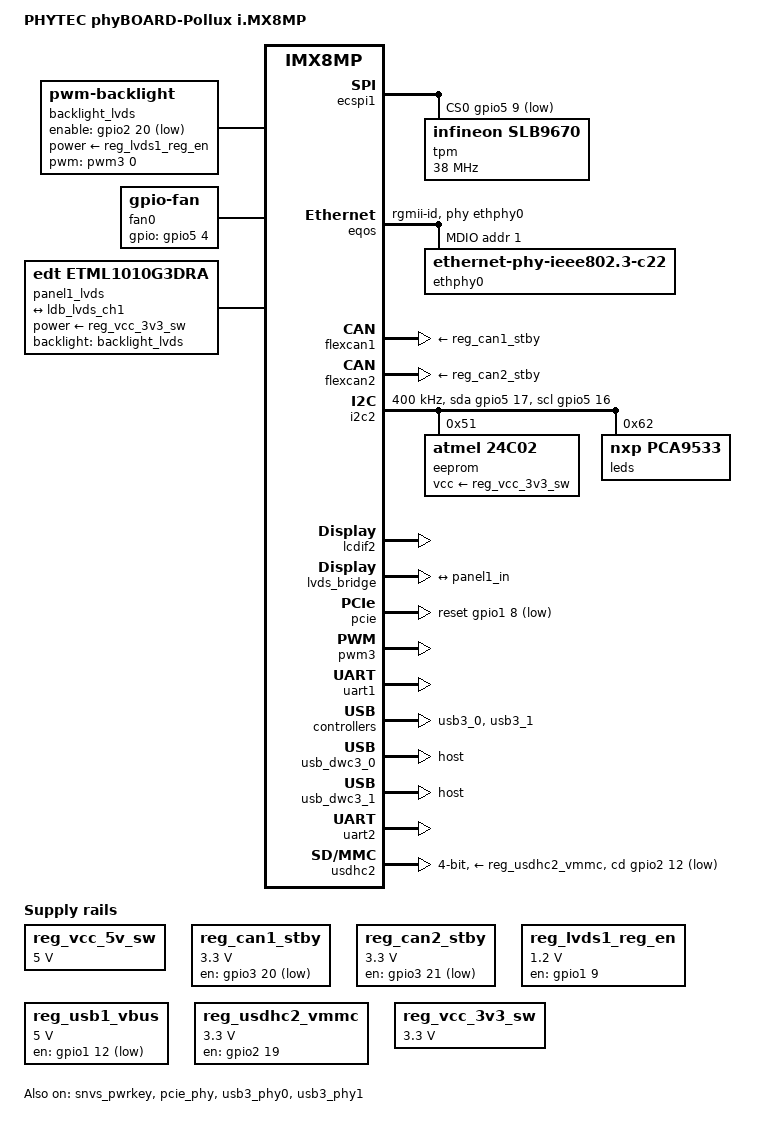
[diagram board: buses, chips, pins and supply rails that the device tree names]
// SPDX-License-Identifier: GPL-2.0
/*
 * Copyright (C) 2020 PHYTEC Messtechnik GmbH
 * Author: Teresa Remmet <t.remmet@phytec.de>
 */

/dts-v1/;

#include <dt-bindings/phy/phy-imx8-pcie.h>
#include <dt-bindings/leds/leds-pca9532.h>
#include <dt-bindings/pwm/pwm.h>
#include <dt-bindings/thermal/thermal.h>
#include "imx8mp-phycore-som.dtsi"

/ {
	model = "PHYTEC phyBOARD-Pollux i.MX8MP";
	compatible = "phytec,imx8mp-phyboard-pollux-rdk",
		     "phytec,imx8mp-phycore-som", "fsl,imx8mp";

	chosen {
		stdout-path = &uart1;
	};

	backlight_lvds: backlight {
		compatible = "pwm-backlight";
		pinctrl-names = "default";
		pinctrl-0 = <&pinctrl_lvds1>;
		brightness-levels = <0 4 8 16 32 64 128 255>;
		default-brightness-level = <11>;
		enable-gpios = <&gpio2 20 GPIO_ACTIVE_LOW>;
		num-interpolated-steps = <2>;
		power-supply = <&reg_lvds1_reg_en>;
		pwms = <&pwm3 0 50000 0>;
	};

	fan0: fan {
		compatible = "gpio-fan";
		pinctrl-names = "default";
		pinctrl-0 = <&pinctrl_fan>;
		gpio-fan,speed-map = <0     0
				      13000 1>;
		gpios = <&gpio5 4 GPIO_ACTIVE_HIGH>;
		#cooling-cells = <2>;
	};

	panel1_lvds: panel-lvds {
		compatible = "edt,etml1010g3dra";
		backlight = <&backlight_lvds>;
		power-supply = <&reg_vcc_3v3_sw>;

		port {
			panel1_in: endpoint {
				remote-endpoint = <&ldb_lvds_ch1>;
			};
		};
	};

	reg_vcc_5v_sw: regulator-vcc-5v-sw {
		compatible = "regulator-fixed";
		regulator-always-on;
		regulator-boot-on;
		regulator-max-microvolt = <5000000>;
		regulator-min-microvolt = <5000000>;
		regulator-name = "VCC_5V_SW";
	};

	reg_can1_stby: regulator-can1-stby {
		compatible = "regulator-fixed";
		pinctrl-names = "default";
		pinctrl-0 = <&pinctrl_flexcan1_reg>;
		gpio = <&gpio3 20 GPIO_ACTIVE_LOW>;
		regulator-max-microvolt = <3300000>;
		regulator-min-microvolt = <3300000>;
		regulator-name = "can1-stby";
	};

	reg_can2_stby: regulator-can2-stby {
		compatible = "regulator-fixed";
		pinctrl-names = "default";
		pinctrl-0 = <&pinctrl_flexcan2_reg>;
		gpio = <&gpio3 21 GPIO_ACTIVE_LOW>;
		regulator-max-microvolt = <3300000>;
		regulator-min-microvolt = <3300000>;
		regulator-name = "can2-stby";
	};

	reg_lvds1_reg_en: regulator-lvds1 {
		compatible = "regulator-fixed";
		enable-active-high;
		gpio = <&gpio1 9 GPIO_ACTIVE_HIGH>;
		regulator-max-microvolt = <1200000>;
		regulator-min-microvolt = <1200000>;
		regulator-name = "lvds1_reg_en";
	};

	reg_usb1_vbus: regulator-usb1-vbus {
		compatible = "regulator-fixed";
		pinctrl-names = "default";
		pinctrl-0 = <&pinctrl_usb1_vbus>;
		gpio = <&gpio1 12 GPIO_ACTIVE_LOW>;
		regulator-max-microvolt = <5000000>;
		regulator-min-microvolt = <5000000>;
		regulator-name = "usb1_host_vbus";
	};

	reg_usdhc2_vmmc: regulator-usdhc2 {
		compatible = "regulator-fixed";
		pinctrl-names = "default";
		pinctrl-0 = <&pinctrl_reg_usdhc2_vmmc>;
		regulator-name = "VSD_3V3";
		regulator-min-microvolt = <3300000>;
		regulator-max-microvolt = <3300000>;
		gpio = <&gpio2 19 GPIO_ACTIVE_HIGH>;
		enable-active-high;
		startup-delay-us = <100>;
		off-on-delay-us = <12000>;
	};

	reg_vcc_3v3_sw: regulator-vcc-3v3-sw {
		compatible = "regulator-fixed";
		regulator-name = "VCC_3V3_SW";
		regulator-min-microvolt = <3300000>;
		regulator-max-microvolt = <3300000>;
	};

	thermal-zones {
		soc-thermal {
			trips {
				active1: trip2 {
					temperature = <60000>;
					hysteresis = <2000>;
					type = "active";
				};
			};

			cooling-maps {
				map1 {
					trip = <&active1>;
					cooling-device = <&fan0 1 THERMAL_NO_LIMIT>;
				};
			};
		};
	};
};

/* TPM */
&ecspi1 {
	#address-cells = <1>;
	#size-cells = <0>;
	cs-gpios = <&gpio5 9 GPIO_ACTIVE_LOW>;
	pinctrl-names = "default";
	pinctrl-0 = <&pinctrl_ecspi1>;
	status = "okay";

	tpm: tpm@0 {
		compatible = "infineon,slb9670", "tcg,tpm_tis-spi";
		reg = <0>;
		spi-max-frequency = <38000000>;
	};
};

&eqos {
	pinctrl-names = "default";
	pinctrl-0 = <&pinctrl_eqos>;
	phy-mode = "rgmii-id";
	phy-handle = <&ethphy0>;
	status = "okay";

	mdio {
		compatible = "snps,dwmac-mdio";
		#address-cells = <1>;
		#size-cells = <0>;

		ethphy0: ethernet-phy@1 {
			compatible = "ethernet-phy-ieee802.3-c22";
			reg = <0x1>;
			ti,rx-internal-delay = <DP83867_RGMIIDCTL_1_50_NS>;
			ti,tx-internal-delay = <DP83867_RGMIIDCTL_1_50_NS>;
			ti,fifo-depth = <DP83867_PHYCR_FIFO_DEPTH_4_B_NIB>;
			ti,clk-output-sel = <DP83867_CLK_O_SEL_OFF>;
			enet-phy-lane-no-swap;
		};
	};
};

/* CAN FD */
&flexcan1 {
	pinctrl-names = "default";
	pinctrl-0 = <&pinctrl_flexcan1>;
	xceiver-supply = <&reg_can1_stby>;
	status = "okay";
};

&flexcan2 {
	pinctrl-names = "default";
	pinctrl-0 = <&pinctrl_flexcan2>;
	xceiver-supply = <&reg_can2_stby>;
	status = "okay";
};

&i2c2 {
	clock-frequency = <400000>;
	pinctrl-names = "default", "gpio";
	pinctrl-0 = <&pinctrl_i2c2>;
	pinctrl-1 = <&pinctrl_i2c2_gpio>;
	sda-gpios = <&gpio5 17 (GPIO_ACTIVE_HIGH | GPIO_OPEN_DRAIN)>;
	scl-gpios = <&gpio5 16 (GPIO_ACTIVE_HIGH | GPIO_OPEN_DRAIN)>;
	status = "okay";

	eeprom@51 {
		compatible = "atmel,24c02";
		reg = <0x51>;
		pagesize = <16>;
		vcc-supply = <&reg_vcc_3v3_sw>;
	};

	leds@62 {
		compatible = "nxp,pca9533";
		reg = <0x62>;

		led-1 {
			type = <PCA9532_TYPE_LED>;
		};

		led-2 {
			type = <PCA9532_TYPE_LED>;
		};

		led-3 {
			type = <PCA9532_TYPE_LED>;
		};
	};
};

&lcdif2 {
	status = "okay";
};

&lvds_bridge {
	status = "okay";

	ports {
		port@2 {
			ldb_lvds_ch1: endpoint {
				remote-endpoint = <&panel1_in>;
			};
		};
	};
};

&media_blk_ctrl {
	/*
	 * The LVDS panel on this device uses 72.4 MHz pixel clock,
	 * set IMX8MP_VIDEO_PLL1 to 72.4 * 7 = 506.8 MHz so the LDB
	 * serializer and LCDIFv3 scanout engine can reach accurate
	 * pixel clock of exactly 72.4 MHz.
	 */
	assigned-clock-rates = <500000000>, <200000000>,
			       <0>, <0>, <500000000>,
			       <506800000>;
};

&snvs_pwrkey {
	status = "okay";
};

&pcie_phy {
	clocks = <&hsio_blk_ctrl>;
	clock-names = "ref";
	fsl,refclk-pad-mode = <IMX8_PCIE_REFCLK_PAD_OUTPUT>;
	fsl,clkreq-unsupported;
	status = "okay";
};

/* Mini PCIe */
&pcie {
	pinctrl-names = "default";
	pinctrl-0 = <&pinctrl_pcie0>;
	reset-gpio = <&gpio1 8 GPIO_ACTIVE_LOW>;
	vpcie-supply = <&reg_vcc_3v3_sw>;
	status = "okay";
};

&pwm3 {
	status = "okay";
	pinctrl-names = "default";
	pinctrl-0 = <&pinctrl_pwm3>;
};

&rv3028 {
	pinctrl-names = "default";
	pinctrl-0 = <&pinctrl_rtc>;
	interrupt-parent = <&gpio4>;
	interrupts = <19 IRQ_TYPE_LEVEL_LOW>;
	aux-voltage-chargeable = <1>;
	wakeup-source;
	trickle-resistor-ohms = <3000>;
};

/* debug console */
&uart1 {
	pinctrl-names = "default";
	pinctrl-0 = <&pinctrl_uart1>;
	status = "okay";
};

/* USB1 Host mode Type-A */
&usb3_phy0 {
	vbus-supply = <&reg_usb1_vbus>;
	status = "okay";
};

&usb3_0 {
	status = "okay";
};

&usb_dwc3_0 {
	dr_mode = "host";
	status = "okay";
};

/* USB2 4-port USB3.0 HUB */
&usb3_phy1 {
	vbus-supply = <&reg_vcc_5v_sw>;
	status = "okay";
};

&usb3_1 {
	fsl,permanently-attached;
	fsl,disable-port-power-control;
	status = "okay";
};

&usb_dwc3_1 {
	dr_mode = "host";
	status = "okay";
};

/* RS232/RS485 */
&uart2 {
	assigned-clocks = <&clk IMX8MP_CLK_UART2>;
	assigned-clock-parents = <&clk IMX8MP_SYS_PLL1_80M>;
	pinctrl-names = "default";
	pinctrl-0 = <&pinctrl_uart2>;
	uart-has-rtscts;
	status = "okay";
};

/* SD-Card */
&usdhc2 {
	assigned-clocks = <&clk IMX8MP_CLK_USDHC2>;
	assigned-clock-rates = <200000000>;
	pinctrl-names = "default", "state_100mhz", "state_200mhz";
	pinctrl-0 = <&pinctrl_usdhc2>, <&pinctrl_usdhc2_pins>;
	pinctrl-1 = <&pinctrl_usdhc2_100mhz>, <&pinctrl_usdhc2_pins>;
	pinctrl-2 = <&pinctrl_usdhc2_200mhz>, <&pinctrl_usdhc2_pins>;
	cd-gpios = <&gpio2 12 GPIO_ACTIVE_LOW>;
	disable-wp;
	vmmc-supply = <&reg_usdhc2_vmmc>;
	vqmmc-supply = <&ldo5>;
	bus-width = <4>;
	status = "okay";
};

&gpio1 {
	gpio-line-names = "", "", "X_PMIC_WDOG_B", "",
		"PMIC_SD_VSEL", "", "", "", "PCIe_nPERST", "LVDS1REG_EN",
		"PCIe_nWAKE", "PCIe_nCLKREQ", "USB1_OTG_PWR", "",
		"PCIe_nW_DISABLE";
};

&gpio2 {
	gpio-line-names = "", "", "", "",
		"", "", "", "", "", "",
		"", "", "X_SD2_CD_B", "", "", "",
		"", "", "", "SD2_RESET_B", "LVDS1_BL_EN";
};

&gpio3 {
	gpio-line-names = "", "", "", "",
		"", "", "", "", "", "",
		"", "", "", "", "", "",
		"", "", "", "", "nCAN1_EN", "nCAN2_EN";
};

&gpio4 {
	gpio-line-names = "", "", "", "",
		"", "", "", "", "", "",
		"", "", "", "", "", "",
		"", "", "X_PMIC_IRQ_B", "nRTC_INT", "nENET0_INT_PWDN";
};

&gpio5 {
	gpio-line-names = "", "", "", "",
		"", "", "", "", "", "X_ECSPI1_SSO";
};

&iomuxc {
	pinctrl_ecspi1: ecspi1grp {
		fsl,pins = <
			MX8MP_IOMUXC_ECSPI1_MISO__ECSPI1_MISO   0x80
			MX8MP_IOMUXC_ECSPI1_MOSI__ECSPI1_MOSI   0x80
			MX8MP_IOMUXC_ECSPI1_SCLK__ECSPI1_SCLK   0x80
			MX8MP_IOMUXC_ECSPI1_SS0__GPIO5_IO09     0x00
		>;
	};

	pinctrl_eqos: eqosgrp {
		fsl,pins = <
			MX8MP_IOMUXC_ENET_MDC__ENET_QOS_MDC			0x2
			MX8MP_IOMUXC_ENET_MDIO__ENET_QOS_MDIO			0x2
			MX8MP_IOMUXC_ENET_RD0__ENET_QOS_RGMII_RD0		0x90
			MX8MP_IOMUXC_ENET_RD1__ENET_QOS_RGMII_RD1		0x90
			MX8MP_IOMUXC_ENET_RD2__ENET_QOS_RGMII_RD2		0x90
			MX8MP_IOMUXC_ENET_RD3__ENET_QOS_RGMII_RD3		0x90
			MX8MP_IOMUXC_ENET_RXC__CCM_ENET_QOS_CLOCK_GENERATE_RX_CLK	0x90
			MX8MP_IOMUXC_ENET_RX_CTL__ENET_QOS_RGMII_RX_CTL		0x90
			MX8MP_IOMUXC_ENET_TD0__ENET_QOS_RGMII_TD0		0x12
			MX8MP_IOMUXC_ENET_TD1__ENET_QOS_RGMII_TD1		0x12
			MX8MP_IOMUXC_ENET_TD2__ENET_QOS_RGMII_TD2		0x12
			MX8MP_IOMUXC_ENET_TD3__ENET_QOS_RGMII_TD3		0x12
			MX8MP_IOMUXC_ENET_TX_CTL__ENET_QOS_RGMII_TX_CTL		0x12
			MX8MP_IOMUXC_ENET_TXC__CCM_ENET_QOS_CLOCK_GENERATE_TX_CLK	0x12
			MX8MP_IOMUXC_SAI1_MCLK__GPIO4_IO20			0x10
		>;
	};

	pinctrl_fan: fan0grp {
		fsl,pins = <
			MX8MP_IOMUXC_SPDIF_RX__GPIO5_IO04       0x16
		>;
	};

	pinctrl_flexcan1: flexcan1grp {
		fsl,pins = <
			MX8MP_IOMUXC_SAI5_RXD2__CAN1_RX		0x154
			MX8MP_IOMUXC_SAI5_RXD1__CAN1_TX		0x154
		>;
	};

	pinctrl_flexcan2: flexcan2grp {
		fsl,pins = <
			MX8MP_IOMUXC_SAI5_MCLK__CAN2_RX		0x154
			MX8MP_IOMUXC_SAI5_RXD3__CAN2_TX		0x154
		>;
	};

	pinctrl_flexcan1_reg: flexcan1reggrp {
		fsl,pins = <
			MX8MP_IOMUXC_SAI5_RXC__GPIO3_IO20	0x154
		>;
	};

	pinctrl_flexcan2_reg: flexcan2reggrp {
		fsl,pins = <
			MX8MP_IOMUXC_SAI5_RXD0__GPIO3_IO21	0x154
		>;
	};

	pinctrl_i2c2: i2c2grp {
		fsl,pins = <
			MX8MP_IOMUXC_I2C2_SCL__I2C2_SCL		0x400001c2
			MX8MP_IOMUXC_I2C2_SDA__I2C2_SDA		0x400001c2
		>;
	};

	pinctrl_i2c2_gpio: i2c2gpiogrp {
		fsl,pins = <
			MX8MP_IOMUXC_I2C2_SCL__GPIO5_IO16	0x1e2
			MX8MP_IOMUXC_I2C2_SDA__GPIO5_IO17	0x1e2
		>;
	};

	pinctrl_lvds1: lvds1grp {
		fsl,pins = <
			MX8MP_IOMUXC_SD2_WP__GPIO2_IO20		0x12
		>;
	};

	pinctrl_pcie0: pcie0grp {
		fsl,pins = <
			MX8MP_IOMUXC_GPIO1_IO08__GPIO1_IO08     0x40
			MX8MP_IOMUXC_GPIO1_IO10__GPIO1_IO10     0x60
			MX8MP_IOMUXC_GPIO1_IO11__GPIO1_IO11	0x60 /* open drain, pull up */
			MX8MP_IOMUXC_GPIO1_IO14__GPIO1_IO14     0x40
		>;
	};

	pinctrl_pwm3: pwm3grp {
		fsl,pins = <
			MX8MP_IOMUXC_SPDIF_TX__PWM3_OUT		0x12
		>;
	};

	pinctrl_reg_usdhc2_vmmc: regusdhc2vmmcgrp {
		fsl,pins = <
			MX8MP_IOMUXC_SD2_RESET_B__GPIO2_IO19	0x40
		>;
	};

	pinctrl_rtc: rtcgrp {
		fsl,pins = <
			MX8MP_IOMUXC_SAI1_TXD7__GPIO4_IO19	0x1C0
		>;
	};

	pinctrl_uart1: uart1grp {
		fsl,pins = <
			MX8MP_IOMUXC_UART1_RXD__UART1_DCE_RX	0x140
			MX8MP_IOMUXC_UART1_TXD__UART1_DCE_TX	0x140
		>;
	};

	pinctrl_usb1_vbus: usb1vbusgrp {
		fsl,pins = <
			MX8MP_IOMUXC_GPIO1_IO12__GPIO1_IO12     0x10
		>;
	};

	pinctrl_uart2: uart2grp {
		fsl,pins = <
			MX8MP_IOMUXC_UART2_RXD__UART2_DCE_RX	0x140
			MX8MP_IOMUXC_UART2_TXD__UART2_DCE_TX	0x140
			MX8MP_IOMUXC_SAI3_RXC__UART2_DCE_CTS	0x140
			MX8MP_IOMUXC_SAI3_RXD__UART2_DCE_RTS	0x140
		>;
	};

	pinctrl_usdhc2_pins: usdhc2-gpiogrp {
		fsl,pins = <
			MX8MP_IOMUXC_SD2_CD_B__GPIO2_IO12	0x40
		>;
	};

	pinctrl_usdhc2: usdhc2grp {
		fsl,pins = <
			MX8MP_IOMUXC_SD2_CLK__USDHC2_CLK	0x190
			MX8MP_IOMUXC_SD2_CMD__USDHC2_CMD	0x1d0
			MX8MP_IOMUXC_SD2_DATA0__USDHC2_DATA0	0x1d0
			MX8MP_IOMUXC_SD2_DATA1__USDHC2_DATA1	0x1d0
			MX8MP_IOMUXC_SD2_DATA2__USDHC2_DATA2	0x1d0
			MX8MP_IOMUXC_SD2_DATA3__USDHC2_DATA3	0x1d0
			MX8MP_IOMUXC_GPIO1_IO04__USDHC2_VSELECT	0xc0
		>;
	};

	pinctrl_usdhc2_100mhz: usdhc2-100mhzgrp {
		fsl,pins = <
			MX8MP_IOMUXC_SD2_CLK__USDHC2_CLK	0x194
			MX8MP_IOMUXC_SD2_CMD__USDHC2_CMD	0x1d4
			MX8MP_IOMUXC_SD2_DATA0__USDHC2_DATA0	0x1d4
			MX8MP_IOMUXC_SD2_DATA1__USDHC2_DATA1	0x1d4
			MX8MP_IOMUXC_SD2_DATA2__USDHC2_DATA2	0x1d4
			MX8MP_IOMUXC_SD2_DATA3__USDHC2_DATA3	0x1d4
			MX8MP_IOMUXC_GPIO1_IO04__USDHC2_VSELECT	0xc0
		>;
	};

	pinctrl_usdhc2_200mhz: usdhc2-200mhzgrp {
		fsl,pins = <
			MX8MP_IOMUXC_SD2_CLK__USDHC2_CLK	0x196
			MX8MP_IOMUXC_SD2_CMD__USDHC2_CMD	0x1d6
			MX8MP_IOMUXC_SD2_DATA0__USDHC2_DATA0	0x1d6
			MX8MP_IOMUXC_SD2_DATA1__USDHC2_DATA1	0x1d6
			MX8MP_IOMUXC_SD2_DATA2__USDHC2_DATA2	0x1d6
			MX8MP_IOMUXC_SD2_DATA3__USDHC2_DATA3	0x1d6
			MX8MP_IOMUXC_GPIO1_IO04__USDHC2_VSELECT	0xc0
		>;
	};
};
